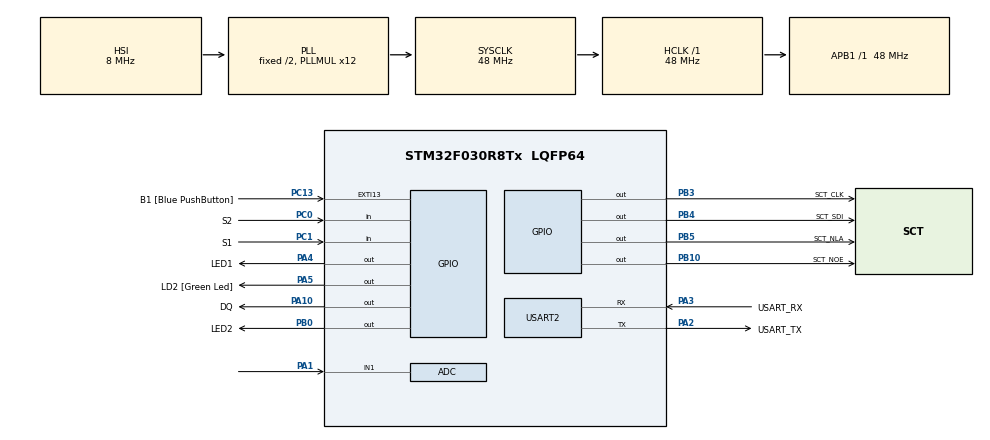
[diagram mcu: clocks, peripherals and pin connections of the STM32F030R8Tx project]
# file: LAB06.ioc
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ADC.ContinuousConvMode=ENABLE
ADC.Overrun=ADC_OVR_DATA_OVERWRITTEN
ADC.Resolution=ADC_RESOLUTION_10B
Mcu.Family=STM32F0
Mcu.Name=STM32F030R8Tx
Mcu.Package=LQFP64
PA1.Mode=IN1
PA1.Signal=ADC_IN1
PA10.GPIO_Label=DQ
PA10.GPIO_ModeDefaultOutputPP=GPIO_MODE_OUTPUT_OD
PA10.GPIO_PuPd=GPIO_NOPULL
PA10.PinState=GPIO_PIN_SET
PA10.Signal=GPIO_Output
PA13.GPIO_Label=TMS
PA13.Mode=Serial_Wire
PA13.Signal=SYS_SWDIO
PA14.GPIO_Label=TCK
PA14.Mode=Serial_Wire
PA14.Signal=SYS_SWCLK
PA2.GPIO_Label=USART_TX
PA2.GPIO_Mode=GPIO_MODE_AF_PP
PA2.GPIO_PuPd=GPIO_NOPULL
PA2.GPIO_Speed=GPIO_SPEED_FREQ_LOW
PA2.Mode=Asynchronous
PA2.Signal=USART2_TX
PA3.GPIO_Label=USART_RX
PA3.GPIO_Mode=GPIO_MODE_AF_PP
PA3.GPIO_PuPd=GPIO_NOPULL
PA3.GPIO_Speed=GPIO_SPEED_FREQ_LOW
PA3.Mode=Asynchronous
PA3.Signal=USART2_RX
PA4.GPIO_Label=LED1
PA4.Signal=GPIO_Output
PA5.GPIO_Label=LD2 [Green Led]
PA5.GPIO_Mode=GPIO_MODE_OUTPUT_PP
PA5.GPIO_PuPd=GPIO_NOPULL
PA5.GPIO_Speed=GPIO_SPEED_FREQ_LOW
PA5.Signal=GPIO_Output
PB0.GPIO_Label=LED2
PB0.Signal=GPIO_Output
PB10.GPIO_Label=SCT_NOE
PB10.Signal=GPIO_Output
PB3.GPIO_Label=SCT_CLK
PB3.Signal=GPIO_Output
PB4.GPIO_Label=SCT_SDI
PB4.Signal=GPIO_Output
PB5.GPIO_Label=SCT_NLA
PB5.Signal=GPIO_Output
PC0.GPIO_Label=S2
PC0.GPIO_PuPd=GPIO_PULLUP
PC0.Signal=GPIO_Input
PC1.GPIO_Label=S1
PC1.GPIO_PuPd=GPIO_PULLUP
PC1.Signal=GPIO_Input
PC13.GPIO_Label=B1 [Blue PushButton]
PC13.GPIO_ModeDefaultEXTI=GPIO_MODE_IT_FALLING
PC13.Signal=GPXTI13
PC14-OSC32_IN.Mode=LSE-External-Oscillator
PC14-OSC32_IN.Signal=RCC_OSC32_IN
PC15-OSC32_OUT.Mode=LSE-External-Oscillator
PC15-OSC32_OUT.Signal=RCC_OSC32_OUT
PF0-OSC_IN.Mode=HSE-External-Clock-Source
PF0-OSC_IN.Signal=RCC_OSC_IN
PF1-OSC_OUT.Signal=RCC_OSC_OUT
ProjectManager.HeapSize=0x200
ProjectManager.StackSize=0x400
ProjectManager.TargetToolchain=STM32CubeIDE
RCC.AHBFreq_Value=48000000
RCC.APB1Freq_Value=48000000
RCC.APB1TimFreq_Value=48000000
RCC.HCLKFreq_Value=48000000
RCC.PLLMUL=RCC_PLL_MUL12
RCC.SYSCLKFreq_VALUE=48000000
RCC.SYSCLKSource=RCC_SYSCLKSOURCE_PLLCLK
USART2.VirtualMode-Asynchronous=VM_ASYNC
board=NUCLEO-F030R8

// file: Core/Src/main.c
/* USER CODE BEGIN Header */
/**
 ******************************************************************************
 * @file           : main.c
 * @brief          : Main program body
 ******************************************************************************
 * @attention
 *
 * Copyright (c) 2025 STMicroelectronics.
 * All rights reserved.
 *
 * This software is licensed under terms that can be found in the LICENSE file
 * in the root directory of this software component.
 * If no LICENSE file comes with this software, it is provided AS-IS.
 *
 ******************************************************************************
 */
/* USER CODE END Header */
#include "main.h"

/* USER CODE BEGIN Includes */
#include "sct.h"
#include "1wire.h"
#include "ntc_data.h"
/* USER CODE END Includes */

/* USER CODE BEGIN PD */
#define CONVERT_T_DELAY 750		// ms
/* USER CODE END PD */

ADC_HandleTypeDef hadc;

UART_HandleTypeDef huart2;

/* USER CODE BEGIN PV */
extern uint16_t ntc_look_table[1024];

static enum { SHOW_DS, SHOW_NTC} state = SHOW_DS;

/* USER CODE END PV */

void SystemClock_Config(void);
static void MX_GPIO_Init(void);
static void MX_USART2_UART_Init(void);
static void MX_ADC_Init(void);

/* USER CODE BEGIN 0 */
void button(void) {
	if (!HAL_GPIO_ReadPin(S1_GPIO_Port, S1_Pin)) {
		HAL_GPIO_WritePin(LED1_GPIO_Port, LED1_Pin, 0);
		HAL_GPIO_WritePin(LED2_GPIO_Port, LED2_Pin, 1);
		state = SHOW_DS;
	}

	if (!HAL_GPIO_ReadPin(S2_GPIO_Port, S2_Pin)) {
		HAL_GPIO_WritePin(LED1_GPIO_Port, LED1_Pin, 1);
		HAL_GPIO_WritePin(LED2_GPIO_Port, LED2_Pin, 0);
		state = SHOW_NTC;
	}

}
/* USER CODE END 0 */

int main(void) {

	/* MCU Configuration--------------------------------------------------------*/

	/* Reset of all peripherals, Initializes the Flash interface and the Systick. */
	HAL_Init();

	/* Configure the system clock */
	SystemClock_Config();

	/* Initialize all configured peripherals */
	MX_GPIO_Init();
	MX_USART2_UART_Init();
	MX_ADC_Init();
	/* USER CODE BEGIN 2 */

	OWInit();
	sct_init();

	HAL_ADCEx_Calibration_Start(&hadc);
	HAL_ADC_Start(&hadc);

	/* USER CODE END 2 */

	/* Infinite loop */
	while (1) {

		/* USER CODE BEGIN 3 */
		static int16_t tempDQ = 0;
		static int16_t tempNTC = 0;
		static uint32_t lastTime = 0;

		button();

		if (lastTime == 0) OWConvertAll();
		if (lastTime + CONVERT_T_DELAY < HAL_GetTick()) {
			OWReadTemperature(&tempDQ);
			lastTime = HAL_GetTick();
			OWConvertAll();
			tempNTC = ntc_look_table[HAL_ADC_GetValue(&hadc)];
		}

		switch (state) {
		case SHOW_DS:
			sct_value(tempDQ / 10, 0, 1);
			HAL_Delay(50);

			break;
		case SHOW_NTC:
			sct_value(tempNTC, 0, 1);
			HAL_Delay(50);

			break;
		}

	}
	/* USER CODE END 3 */
}

void SystemClock_Config(void) {
	RCC_OscInitTypeDef RCC_OscInitStruct = { 0 };
	RCC_ClkInitTypeDef RCC_ClkInitStruct = { 0 };

	/** Initializes the RCC Oscillators according to the specified parameters
	 * in the RCC_OscInitTypeDef structure.
	 */
	RCC_OscInitStruct.OscillatorType = RCC_OSCILLATORTYPE_HSI
			| RCC_OSCILLATORTYPE_HSI14;
	RCC_OscInitStruct.HSIState = RCC_HSI_ON;
	RCC_OscInitStruct.HSI14State = RCC_HSI14_ON;
	RCC_OscInitStruct.HSICalibrationValue = RCC_HSICALIBRATION_DEFAULT;
	RCC_OscInitStruct.HSI14CalibrationValue = 16;
	RCC_OscInitStruct.PLL.PLLState = RCC_PLL_ON;
	RCC_OscInitStruct.PLL.PLLSource = RCC_PLLSOURCE_HSI;
	RCC_OscInitStruct.PLL.PLLMUL = RCC_PLL_MUL12;
	RCC_OscInitStruct.PLL.PREDIV = RCC_PREDIV_DIV1;
	if (HAL_RCC_OscConfig(&RCC_OscInitStruct) != HAL_OK) {
		Error_Handler();
	}

	/** Initializes the CPU, AHB and APB buses clocks
	 */
	RCC_ClkInitStruct.ClockType = RCC_CLOCKTYPE_HCLK | RCC_CLOCKTYPE_SYSCLK
			| RCC_CLOCKTYPE_PCLK1;
	RCC_ClkInitStruct.SYSCLKSource = RCC_SYSCLKSOURCE_PLLCLK;
	RCC_ClkInitStruct.AHBCLKDivider = RCC_SYSCLK_DIV1;
	RCC_ClkInitStruct.APB1CLKDivider = RCC_HCLK_DIV1;

	if (HAL_RCC_ClockConfig(&RCC_ClkInitStruct, FLASH_LATENCY_1) != HAL_OK) {
		Error_Handler();
	}
}

static void MX_ADC_Init(void) {

	ADC_ChannelConfTypeDef sConfig = { 0 };

	/** Configure the global features of the ADC (Clock, Resolution, Data Alignment and number of conversion)
	 */
	hadc.Instance = ADC1;
	hadc.Init.ClockPrescaler = ADC_CLOCK_ASYNC_DIV1;
	hadc.Init.Resolution = ADC_RESOLUTION_10B;
	hadc.Init.DataAlign = ADC_DATAALIGN_RIGHT;
	hadc.Init.ScanConvMode = ADC_SCAN_DIRECTION_FORWARD;
	hadc.Init.EOCSelection = ADC_EOC_SINGLE_CONV;
	hadc.Init.LowPowerAutoWait = DISABLE;
	hadc.Init.LowPowerAutoPowerOff = DISABLE;
	hadc.Init.ContinuousConvMode = ENABLE;
	hadc.Init.DiscontinuousConvMode = DISABLE;
	hadc.Init.ExternalTrigConv = ADC_SOFTWARE_START;
	hadc.Init.ExternalTrigConvEdge = ADC_EXTERNALTRIGCONVEDGE_NONE;
	hadc.Init.DMAContinuousRequests = DISABLE;
	hadc.Init.Overrun = ADC_OVR_DATA_OVERWRITTEN;
	if (HAL_ADC_Init(&hadc) != HAL_OK) {
		Error_Handler();
	}

	/** Configure for the selected ADC regular channel to be converted.
	 */
	sConfig.Channel = ADC_CHANNEL_1;
	sConfig.Rank = ADC_RANK_CHANNEL_NUMBER;
	sConfig.SamplingTime = ADC_SAMPLETIME_1CYCLE_5;
	if (HAL_ADC_ConfigChannel(&hadc, &sConfig) != HAL_OK) {
		Error_Handler();
	}

}

static void MX_USART2_UART_Init(void) {

	huart2.Instance = USART2;
	huart2.Init.BaudRate = 38400;
	huart2.Init.WordLength = UART_WORDLENGTH_8B;
	huart2.Init.StopBits = UART_STOPBITS_1;
	huart2.Init.Parity = UART_PARITY_NONE;
	huart2.Init.Mode = UART_MODE_TX_RX;
	huart2.Init.HwFlowCtl = UART_HWCONTROL_NONE;
	huart2.Init.OverSampling = UART_OVERSAMPLING_16;
	huart2.Init.OneBitSampling = UART_ONE_BIT_SAMPLE_DISABLE;
	huart2.AdvancedInit.AdvFeatureInit = UART_ADVFEATURE_NO_INIT;
	if (HAL_UART_Init(&huart2) != HAL_OK) {
		Error_Handler();
	}

}

static void MX_GPIO_Init(void) {
	GPIO_InitTypeDef GPIO_InitStruct = { 0 };

	/* GPIO Ports Clock Enable */
	__HAL_RCC_GPIOC_CLK_ENABLE();
	__HAL_RCC_GPIOF_CLK_ENABLE();
	__HAL_RCC_GPIOA_CLK_ENABLE();
	__HAL_RCC_GPIOB_CLK_ENABLE();

	/*Configure GPIO pin Output Level */
	HAL_GPIO_WritePin(GPIOA, LED1_Pin | LD2_Pin, GPIO_PIN_RESET);

	/*Configure GPIO pin Output Level */
	HAL_GPIO_WritePin(GPIOB,
			LED2_Pin | SCT_NOE_Pin | SCT_CLK_Pin | SCT_SDI_Pin | SCT_NLA_Pin,
			GPIO_PIN_RESET);

	/*Configure GPIO pin Output Level */
	HAL_GPIO_WritePin(DQ_GPIO_Port, DQ_Pin, GPIO_PIN_SET);

	/*Configure GPIO pin : B1_Pin */
	GPIO_InitStruct.Pin = B1_Pin;
	GPIO_InitStruct.Mode = GPIO_MODE_IT_FALLING;
	GPIO_InitStruct.Pull = GPIO_NOPULL;
	HAL_GPIO_Init(B1_GPIO_Port, &GPIO_InitStruct);

	/*Configure GPIO pins : S2_Pin S1_Pin */
	GPIO_InitStruct.Pin = S2_Pin | S1_Pin;
	GPIO_InitStruct.Mode = GPIO_MODE_INPUT;
	GPIO_InitStruct.Pull = GPIO_PULLUP;
	HAL_GPIO_Init(GPIOC, &GPIO_InitStruct);

	/*Configure GPIO pins : LED1_Pin LD2_Pin */
	GPIO_InitStruct.Pin = LED1_Pin | LD2_Pin;
	GPIO_InitStruct.Mode = GPIO_MODE_OUTPUT_PP;
	GPIO_InitStruct.Pull = GPIO_NOPULL;
	GPIO_InitStruct.Speed = GPIO_SPEED_FREQ_LOW;
	HAL_GPIO_Init(GPIOA, &GPIO_InitStruct);

	/*Configure GPIO pins : LED2_Pin SCT_NOE_Pin SCT_CLK_Pin SCT_SDI_Pin
	 SCT_NLA_Pin */
	GPIO_InitStruct.Pin = LED2_Pin | SCT_NOE_Pin | SCT_CLK_Pin | SCT_SDI_Pin
			| SCT_NLA_Pin;
	GPIO_InitStruct.Mode = GPIO_MODE_OUTPUT_PP;
	GPIO_InitStruct.Pull = GPIO_NOPULL;
	GPIO_InitStruct.Speed = GPIO_SPEED_FREQ_LOW;
	HAL_GPIO_Init(GPIOB, &GPIO_InitStruct);

	/*Configure GPIO pin : DQ_Pin */
	GPIO_InitStruct.Pin = DQ_Pin;
	GPIO_InitStruct.Mode = GPIO_MODE_OUTPUT_OD;
	GPIO_InitStruct.Pull = GPIO_NOPULL;
	GPIO_InitStruct.Speed = GPIO_SPEED_FREQ_LOW;
	HAL_GPIO_Init(DQ_GPIO_Port, &GPIO_InitStruct);

}

void Error_Handler(void) {
	__disable_irq();
	while (1) {
	}
}
